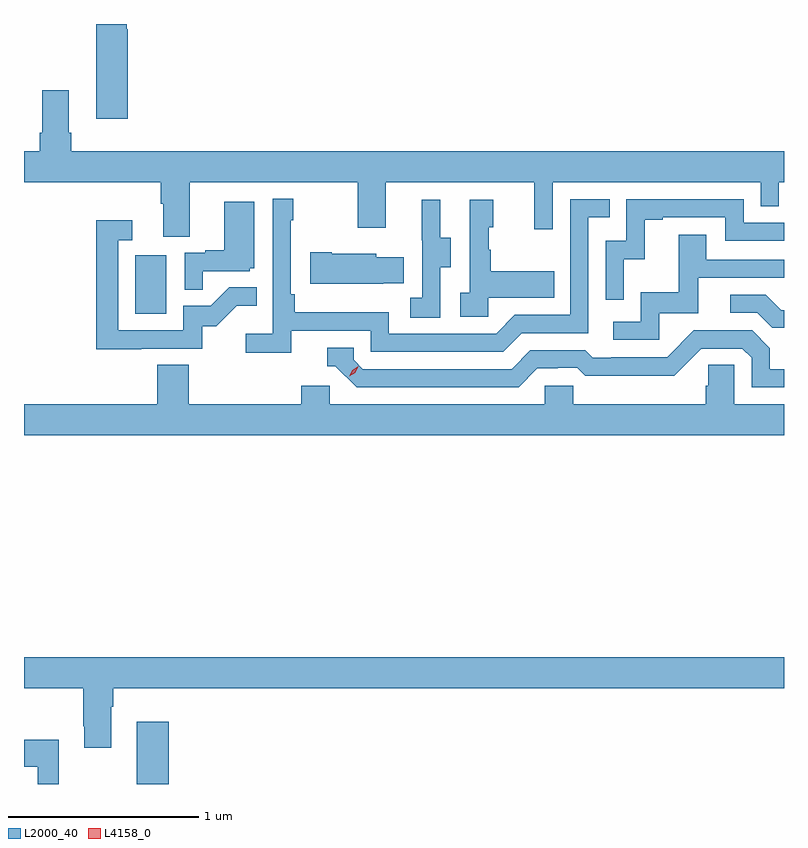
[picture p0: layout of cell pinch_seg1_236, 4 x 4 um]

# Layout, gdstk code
import gdstk
lib = gdstk.Library(unit=1e-6, precision=1e-09)
def R(c, l, rs):  # rectangles x0, y0, x1, y1
    for r in rs: c.add(gdstk.rectangle(r[:2], r[2:], *l))
def P(c, l, *ps):  # polygons
    for p in ps: c.add(gdstk.Polygon(p, *l))
L2000_40 = (2000, 40)
L4158_0 = (4158, 0)

pinch_seg1_236 = lib.new_cell('pinch_seg1_236')
R(pinch_seg1_236, L2000_40, [(902.369,568.545,902.537,568.873), (902.36,571.02,902.524,571.327)])
P(pinch_seg1_236, L2000_40, [(902.32,572.517),(902.315,572.517),(902.315,572.545),(902.156,572.545),(902.156,572.046),(902.32,572.046)],
  [(902.647,571.712),(903.532,571.712),(903.532,571.473),(903.679,571.473),(903.679,571.712),(904.46,571.712),(904.46,571.464),(904.557,571.464),(904.557,571.712),(905.652,571.712),(905.652,571.585),(905.748,571.585),(905.748,571.712),(905.775,571.712),(905.775,571.876),(902.024,571.876),(902.024,571.972),(902.011,571.972),(902.011,572.197),(901.871,572.197),(901.871,571.972),(901.859,571.972),(901.859,571.876),(901.775,571.876),(901.775,571.712),(902.495,571.712),(902.495,571.6),(902.507,571.6),(902.507,571.426),(902.647,571.426)],
  [(903.182,570.93),(903.6,570.93),(903.6,570.819),(904.297,570.819),(904.396,570.918),(904.746,570.918),(904.746,571.527),(904.859,571.527),(904.859,571.623),(904.65,571.623),(904.65,571.014),(904.359,571.014),(904.26,570.915),(903.696,570.915),(903.696,571.027),(903.2,571.027),(903.2,571.123),(903.18,571.123),(903.18,571.511),(903.193,571.511),(903.193,571.624),(903.084,571.624),(903.084,570.916),(902.943,570.916),(902.943,570.814),(903.182,570.814)],
  [(904.932,571.307),(905.042,571.307),(905.042,571.515),(905.137,571.515),(905.137,571.527),(905.466,571.527),(905.466,571.404),(905.775,571.404),(905.775,571.5),(905.562,571.5),(905.562,571.623),(904.944,571.623),(904.944,571.404),(904.836,571.404),(904.836,571.095),(904.932,571.095)],
  [(904.218,571.103),(904.565,571.103),(904.565,571.243),(904.231,571.243),(904.231,571.358),(904.221,571.358),(904.221,571.476),(904.246,571.476),(904.246,571.621),(904.122,571.621),(904.122,571.13),(904.071,571.13),(904.071,571.005),(904.218,571.005)],
  [(903.966,571.264),(904.021,571.264),(904.021,571.419),(903.967,571.419),(903.967,571.621),(903.869,571.621),(903.869,571.407),(903.87,571.407),(903.87,571.103),(903.807,571.103),(903.807,571),(903.966,571)],
  [(902.717,571.245),(902.964,571.245),(902.964,571.26),(902.986,571.26),(902.986,571.609),(902.828,571.609),(902.828,571.354),(902.729,571.354),(902.729,571.341),(902.622,571.341),(902.622,571.147),(902.717,571.147)],
  [(902.393,570.837),(902.712,570.837),(902.712,570.954),(902.788,570.954),(902.895,571.061),(902.999,571.061),(902.999,571.16),(902.855,571.16),(902.757,571.062),(902.613,571.062),(902.613,570.933),(902.271,570.933),(902.271,571.407),(902.344,571.407),(902.344,571.513),(902.155,571.513),(902.155,570.832),(902.393,570.832)],
  [(905.118,571.023),(905.323,571.023),(905.323,571.209),(905.775,571.209),(905.775,571.305),(905.365,571.305),(905.365,571.435),(905.221,571.435),(905.221,571.132),(905.022,571.132),(905.022,570.978),(904.875,570.978),(904.875,570.882),(905.118,570.882)],
  [(903.665,571.181),(903.773,571.181),(903.773,571.318),(903.63,571.318),(903.63,571.336),(903.394,571.336),(903.394,571.344),(903.282,571.344),(903.282,571.178),(903.665,571.178)],
  [(905.775,571.038),(905.761,571.038),(905.68,571.119),(905.493,571.119),(905.493,571.026),(905.634,571.026),(905.714,570.946),(905.775,570.946)],
  [(904.477,570.732),(904.584,570.732),(904.584,570.735),(904.687,570.735),(904.729,570.693),(904.962,570.693),(904.962,570.695),(905.198,570.695),(905.34,570.837),(905.556,570.837),(905.604,570.789),(905.604,570.633),(905.775,570.633),(905.775,570.729),(905.701,570.729),(905.701,570.839),(905.607,570.933),(905.301,570.933),(905.16,570.792),(904.867,570.792),(904.867,570.789),(904.768,570.789),(904.729,570.828),(904.44,570.828),(904.341,570.729),(903.558,570.729),(903.51,570.777),(903.51,570.84),(903.371,570.84),(903.371,570.744),(903.414,570.744),(903.525,570.633),(904.378,570.633)],
  [(905.775,570.544),(905.514,570.544),(905.514,570.752),(905.377,570.752),(905.377,570.642),(905.363,570.642),(905.363,570.544),(904.665,570.544),(904.665,570.642),(904.515,570.642),(904.515,570.544),(903.384,570.544),(903.384,570.642),(903.233,570.642),(903.233,570.544),(902.642,570.544),(902.642,570.752),(902.477,570.752),(902.477,570.544),(901.775,570.544),(901.775,570.38),(905.775,570.38)],
  [(902.233,568.952),(902.246,568.952),(902.246,569.048),(905.775,569.048),(905.775,569.212),(901.775,569.212),(901.775,569.048),(902.086,569.048),(902.086,568.849),(902.093,568.849),(902.093,568.737),(902.233,568.737)],
  [(901.958,568.777),(901.775,568.777),(901.775,568.637),(901.848,568.637),(901.848,568.545),(901.958,568.545)])
P(pinch_seg1_236, L4158_0, [(903.488,570.69),(903.488,570.691),(903.503,570.723),(903.534,570.743),(903.534,570.743),(903.534,570.743),(903.518,570.71),(903.488,570.69)])

lib.write_gds('pinch_seg1_236.gds')
